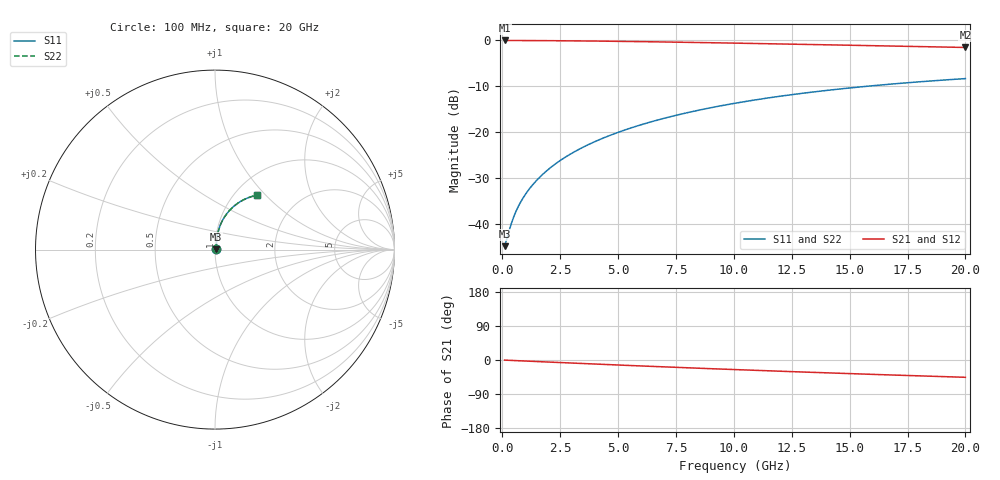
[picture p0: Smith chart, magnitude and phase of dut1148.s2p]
! Touchstone file exported from HFSS 2024.1.0
!  File:  C:/UserFiles/LocalFiles/RDL_TSV_Batchsim/temp_RDL_top_1148_1780048054.aedt
!  Generated:  05:49:51 PM May 29, 2026
!  Design:  RDL_top
!  Project:  temp_RDL_top_1148_1780048054
!  Setup:  Setup1
!  Solution:  Sweep
! Variables:
!  dtsv = 10.80580581um
!  hbump = 3um
!  htsv = 93.12um
!  ldown = 100um
!  lrdl = 665.63um
!  p = 40
!  p1 = 43.94um
!  rhole = 1um
!  t = 450um
!  tdown = 3.915915916um
!  trdl = 2.18um
!  wdown = 15.38538539um
!  wrdl = 21.32um
# GHz S MA R 50.000000
! Terminal data exported
! Port[1] = Box2_T1
! Port[2] = Box2_T2
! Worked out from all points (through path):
!   200 points, 100 MHz to 20 GHz, reference 50 ohm
!   highest |S21| = -0.05 dB at 100 MHz (marker M1); lowest = -1.6 dB at 20 GHz (marker M2)
!   group delay of S21, straight-line fit = 6.32 ps
!   lowest |S11| = -44.8 dB at 100 MHz (marker M3), VSWR 1.01, Z = 50.5 + j0.223 ohm
!   |S11| at or under -10 dB: start of sweep to 15.76 GHz
!   |S22| runs from -44.8 to -8.3 dB; largest |S21 - S12| = 2.6e-15
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0.1  0.005777 22.4  0.9947 -0.3  0.9947 -0.3  0.005777 22.4
! Gamma 0 0 0 0
! Port Impedance 50 0 50 0
0.4  0.01035 55.3  0.994 -1.1  0.994 -1.1  0.01035 55.3
0.5  0.01214 59.7  0.9937 -1.4  0.9937 -1.4  0.01215 59.7
0.6  0.01395 63.0  0.9935 -1.7  0.9935 -1.7  0.01395 63.0
0.7  0.01575 65.5  0.9932 -2.0  0.9932 -2.0  0.01575 65.5
0.9  0.01935 69.1  0.9927 -2.5  0.9927 -2.5  0.01935 69.1
1.2  0.02479 72.8  0.9919 -3.3  0.9919 -3.3  0.02479 72.8
1.4  0.02846 74.5  0.9913 -3.8  0.9913 -3.8  0.02846 74.5
1.7  0.03404 76.4  0.9904 -4.6  0.9904 -4.6  0.03404 76.4
2.2  0.0435 78.4  0.9887 -6.0  0.9887 -6.0  0.0435 78.4
2.8  0.05512 79.7  0.9862 -7.6  0.9862 -7.6  0.05512 79.7
3.5  0.069 80.3  0.9826 -9.4  0.9826 -9.4  0.06899 80.3
4.2  0.08318 80.4  0.9785 -11.2  0.9785 -11.2  0.08317 80.4
5  0.09971 80.0  0.9732 -13.2  0.9732 -13.2  0.0997 80.0
5.9  0.1186 79.1  0.9666 -15.5  0.9666 -15.5  0.1186 79.1
6.8  0.1378 77.9  0.9594 -17.7  0.9594 -17.7  0.1377 77.9
8.4  0.1719 75.3  0.9455 -21.5  0.9455 -21.5  0.1719 75.3
10.1  0.2077 72.1  0.9299 -25.4  0.9299 -25.4  0.2076 72.1
11.7  0.2404 68.9  0.9146 -29.0  0.9146 -29.0  0.2403 68.8
13.4  0.2735 65.4  0.8981 -32.6  0.8981 -32.6  0.2734 65.4
16.7  0.3322 58.7  0.866 -39.4  0.866 -39.4  0.3321 58.7
20  0.3829 52.4  0.8347 -45.7  0.8347 -45.7  0.3828 52.3
